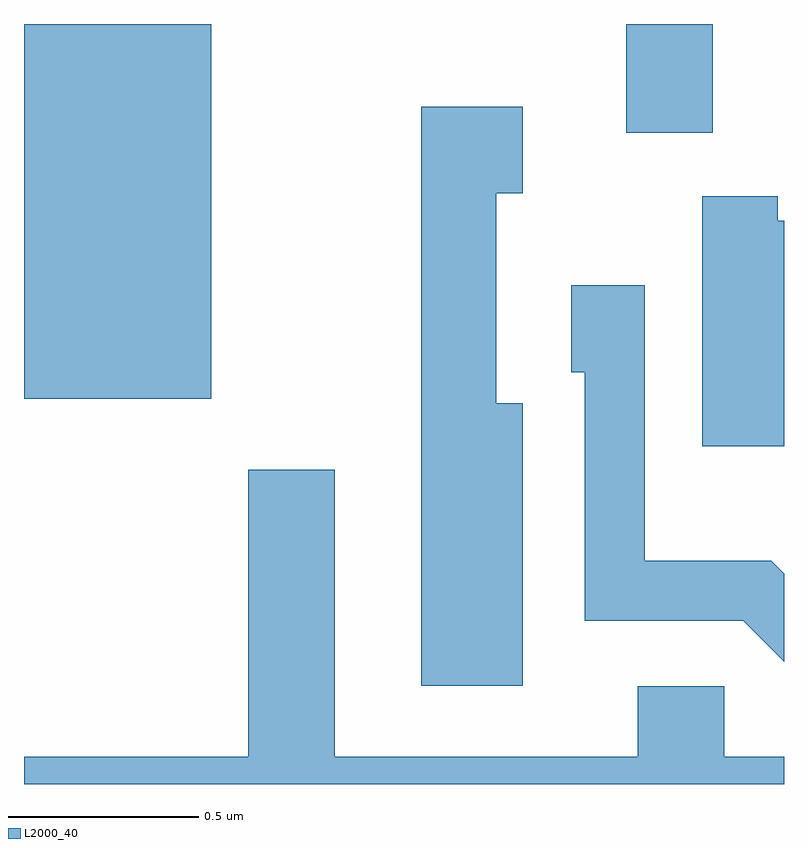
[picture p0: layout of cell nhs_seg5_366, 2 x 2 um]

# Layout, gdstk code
import gdstk
lib = gdstk.Library(unit=1e-6, precision=1e-09)
def R(c, l, rs):  # rectangles x0, y0, x1, y1
    for r in rs: c.add(gdstk.rectangle(r[:2], r[2:], *l))
def P(c, l, *ps):  # polygons
    for p in ps: c.add(gdstk.Polygon(p, *l))
L2000_40 = (2000, 40)

nhs_seg5_366 = lib.new_cell('nhs_seg5_366')
R(nhs_seg5_366, L2000_40, [(187.611,1489.086,188.104,1490.072), (189.196,1489.786,189.424,1490.072)])
P(nhs_seg5_366, L2000_40, [(188.924,1489.074),(188.854,1489.074),(188.854,1489.626),(188.924,1489.626),(188.924,1489.854),(188.656,1489.854),(188.656,1488.331),(188.924,1488.331)],
  [(189.611,1489.554),(189.594,1489.554),(189.594,1489.619),(189.396,1489.619),(189.396,1488.961),(189.611,1488.961)],
  [(189.611,1488.625),(189.577,1488.659),(189.244,1488.659),(189.244,1489.384),(189.051,1489.384),(189.051,1489.156),(189.086,1489.156),(189.086,1488.501),(189.504,1488.501),(189.611,1488.394)],
  [(189.611,1488.144),(189.454,1488.144),(189.454,1488.329),(189.226,1488.329),(189.226,1488.144),(188.429,1488.144),(188.429,1488.899),(188.201,1488.899),(188.201,1488.144),(187.611,1488.144),(187.611,1488.072),(189.611,1488.072)])

lib.write_gds('nhs_seg5_366.gds')
